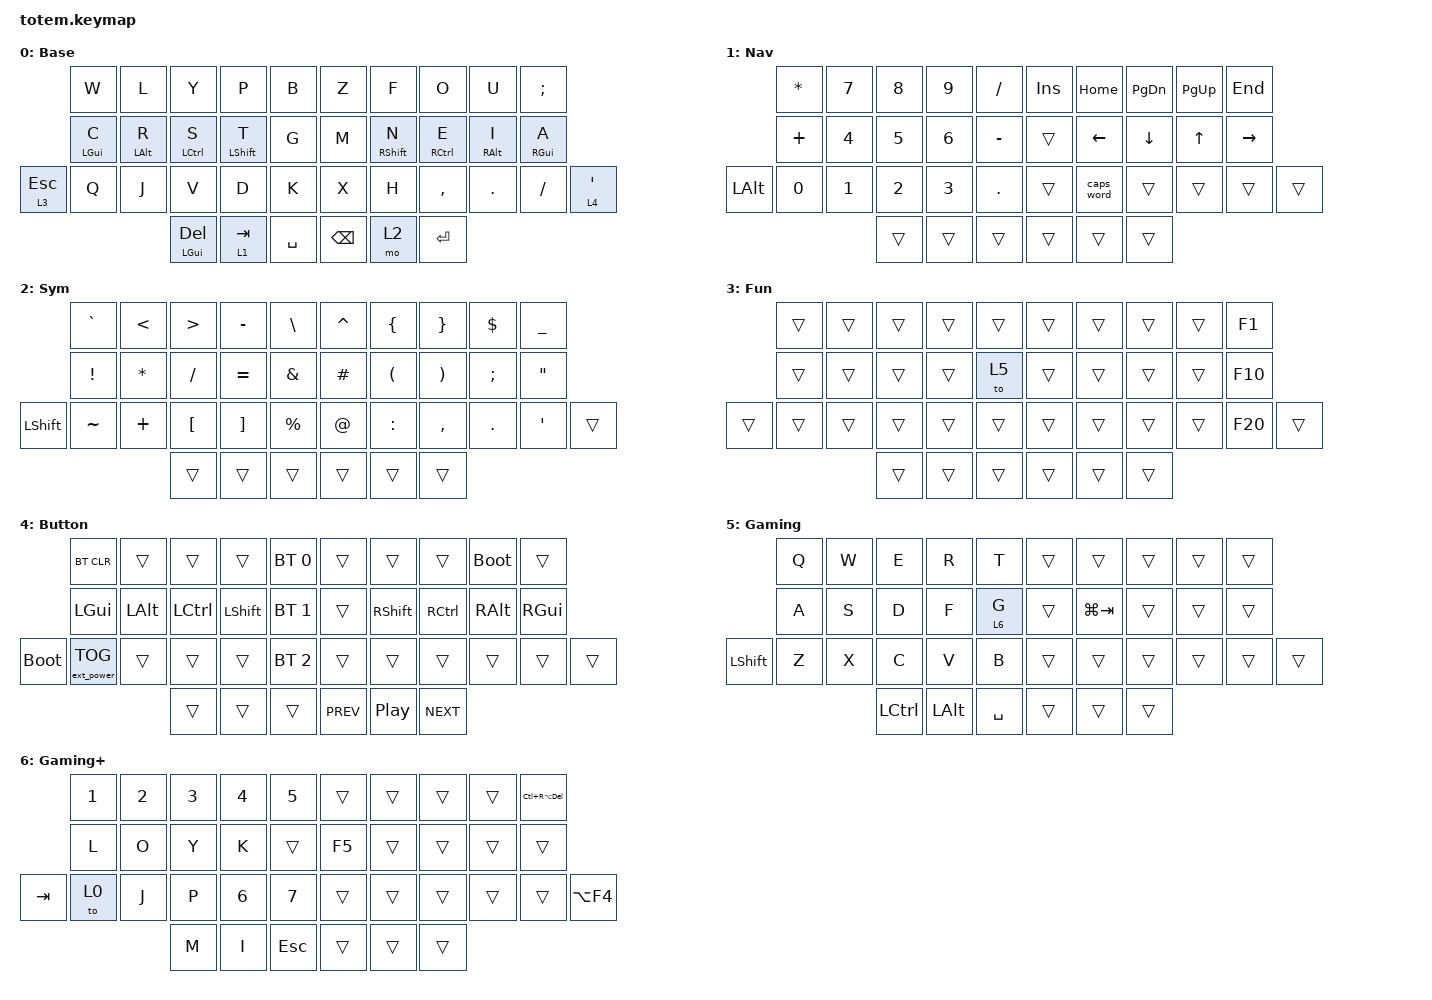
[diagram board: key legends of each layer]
//
//                                                        ▀▀▀▀▀     ▀▀▀▀▀          ▀▀█▀▀
//                                                        ▄▀▀▀▄  ▄  ▄▀▀▀▄  ▄  ▄▀▀▀▄  █  ▄▀▀▀▄
//                                                        █   █  █  █   █  █  █   █  █  █   █
//                                                         ▀▀▀   █   ▀▀▀   █   ▀▀▀   ▀   ▀▀▀
//                                                               █      ▄▄▄█▄▄▄    █   █  
//                                                               ▀      █  █  █     █▄█
//                                                             ▀▀▀▀▀    █  █  █      ▀
//                                                                      ▀  ▀  ▀
//
// ▄▄▄▄▄▄▄▄▄▄▄▄▄▄▄▄▄▄▄▄▄▄▄▄▄▄▄▄▄▄▄▄▄▄▄▄▄▄▄▄▄▄▄▄▄▄▄▄▄▄▄▄▄▄▄▄▄▄▄▄▄▄▄▄▄▄▄▄▄▄▄▄▄▄▄▄▄▄▄▄▄▄▄▄▄▄▄▄▄▄▄▄▄▄▄▄▄▄▄▄▄▄▄▄▄▄▄▄▄▄▄▄▄▄▄▄▄▄▄▄▄▄▄▄▄▄▄▄▄▄▄▄▄▄▄▄▄▄▄▄▄▄▄▄▄▄▄▄▄

#include <behaviors.dtsi>
#include <dt-bindings/zmk/bt.h>
#include <dt-bindings/zmk/ext_power.h>
#include <dt-bindings/zmk/keys.h>

#define Base        0
#define Media       1
#define Nav         2
#define Mouse       3
#define Sym         4
#define Num         5
#define Fun         6
#define Button      7
#define Game        8
#define Gameplus    9

&mt {
    quick-tap-ms = <100>;
    global-quick-tap;
    flavor = "tap-preferred";
    tapping-term-ms = <170>;
};

&lt {
    tapping-term-ms = <240>;
    flavor = "balanced";
    quick-tap-ms = <150>;
};

/ {
    behaviors {
        hm: homerow_mods {
            compatible = "zmk,behavior-hold-tap";
            label = "HOMEROW_MODS";
            #binding-cells = <2>;
            flavor = "balanced";
            tapping-term-ms = <280>;
            quick-tap-ms = <175>;
            bindings = <&kp>, <&kp>;

            require-prior-idle-ms = <150>;
            hold-trigger-on-release;
            hold-trigger-key-positions = <10 11 12 13 16 17 18 19>;
        };

        cw: caps_word {
            compatible = "zmk,behavior-caps-word";
            label = "CAPS_WORD";
            #binding-cells = <0>;
            continue-list = <UNDERSCORE>;
        };
    };

    combos { compatible = "zmk,combos"; };

    keymap {
        compatible = "zmk,keymap";

        Base {
            label = "Base";
            bindings = <
              &kp W       &kp L       &kp Y         &kp P         &kp B        &kp Z          &kp F        &kp O        &kp U       &kp SEMICOLON
              &hm LGUI C  &hm LALT R  &hm LCTRL S   &hm LSHIFT T  &kp G        &kp M          &hm RSHFT N  &hm RCTRL E  &hm RALT I  &hm RGUI A
&lt 3 ESCAPE  &kp Q       &kp J       &kp V         &kp D         &kp K        &kp X          &kp H        &kp COMMA    &kp DOT     &kp SLASH      &lt 4 APOSTROPHE
                                      &mt LGUI DEL  &lt 1 TAB     &kp SPACE    &kp BACKSPACE  &mo 2        &kp ENTER
            >;
        };

        Nav {
            label = "Nav";
            bindings = <
              &kp ASTERISK  &kp NUMBER_7  &kp NUMBER_8  &kp N9        &kp SLASH    &kp INS  &kp HOME    &kp PAGE_DOWN   &kp PAGE_UP   &kp END
              &kp PLUS      &kp NUMBER_4  &kp N5        &kp NUMBER_6  &kp MINUS    &trans   &kp LEFT    &kp DOWN_ARROW  &kp UP_ARROW  &kp RIGHT
&kp LEFT_ALT  &kp N0        &kp NUMBER_1  &kp NUMBER_2  &kp NUMBER_3  &kp DOT      &trans   &caps_word  &trans          &trans        &trans     &trans
                                          &trans        &trans        &trans       &trans   &trans      &trans
            >;
        };

        Sym {
            label = "Sym";
            bindings = <
                &kp GRAVE        &kp LESS_THAN  &kp GREATER_THAN  &kp MINUS  &kp BACKSLASH    &kp CARET    &kp LEFT_BRACE        &kp RIGHT_BRACE        &kp DOLLAR     &kp UNDERSCORE
                &kp EXCLAMATION  &kp ASTERISK   &kp SLASH         &kp EQUAL  &kp AMPERSAND    &kp HASH     &kp LEFT_PARENTHESIS  &kp RIGHT_PARENTHESIS  &kp SEMICOLON  &kp DOUBLE_QUOTES
&kp LEFT_SHIFT  &kp TILDE        &kp PLUS       &kp LBKT          &kp RBKT   &kp PERCENT      &kp AT_SIGN  &kp COLON             &kp COMMA              &kp PERIOD     &kp APOSTROPHE     &trans
                                                &trans            &trans     &trans           &trans       &trans                &trans
            >;
        };

        Fun {
            label = "Fun";
            bindings = <
        &trans  &trans  &trans  &trans  &trans    &trans  &trans  &trans  &trans  &kp F1
        &trans  &trans  &trans  &trans  &to 5     &trans  &trans  &trans  &trans  &kp F10
&trans  &trans  &trans  &trans  &trans  &trans    &trans  &trans  &trans  &trans  &kp F20  &trans
                        &trans  &trans  &trans    &trans  &trans  &trans
            >;
        };

        Button {
            label = "Button";
            bindings = <
             &bt BT_CLR         &trans    &trans     &trans      &bt BT_SEL 0    &trans      &trans            &trans      &bootloader  &trans
             &kp LGUI           &kp LALT  &kp LCTRL  &kp LSHIFT  &bt BT_SEL 1    &trans      &kp RSHIFT        &kp RCTRL   &kp RALT     &kp RGUI
&bootloader  &ext_power EP_TOG  &trans    &trans     &trans      &bt BT_SEL 2    &trans      &trans            &trans      &trans       &trans    &trans
                                          &trans     &trans      &trans          &kp C_PREV  &kp C_PLAY_PAUSE  &kp C_NEXT
            >;
        };

        Gaming {
            bindings = <
                &kp Q  &kp W  &kp E      &kp R         &kp T        &trans  &trans       &trans  &trans  &trans
                &kp A  &kp S  &kp D      &kp F         &lt 6 G      &trans  &kp LG(TAB)  &trans  &trans  &trans
&kp LEFT_SHIFT  &kp Z  &kp X  &kp C      &kp V         &kp B        &trans  &trans       &trans  &trans  &trans  &trans
                              &kp LCTRL  &kp LEFT_ALT  &kp SPACE    &trans  &trans       &trans
            >;

            label = "Gaming";
        };

        Gaming+ {
            bindings = <
         &kp NUMBER_1  &kp NUMBER_2  &kp NUMBER_3  &kp NUMBER_4  &kp NUMBER_5    &trans  &trans  &trans  &trans  &kp LC(RA(DEL))
         &kp L         &kp O         &kp Y         &kp K         &trans          &kp F5  &trans  &trans  &trans  &trans
&kp TAB  &to 0         &kp J         &kp P         &kp NUMBER_6  &kp NUMBER_7    &trans  &trans  &trans  &trans  &trans           &kp LA(F4)
                                     &kp M         &kp I         &kp ESCAPE      &trans  &trans  &trans
            >;

            label = "Gaming+";
        };
    };
};
